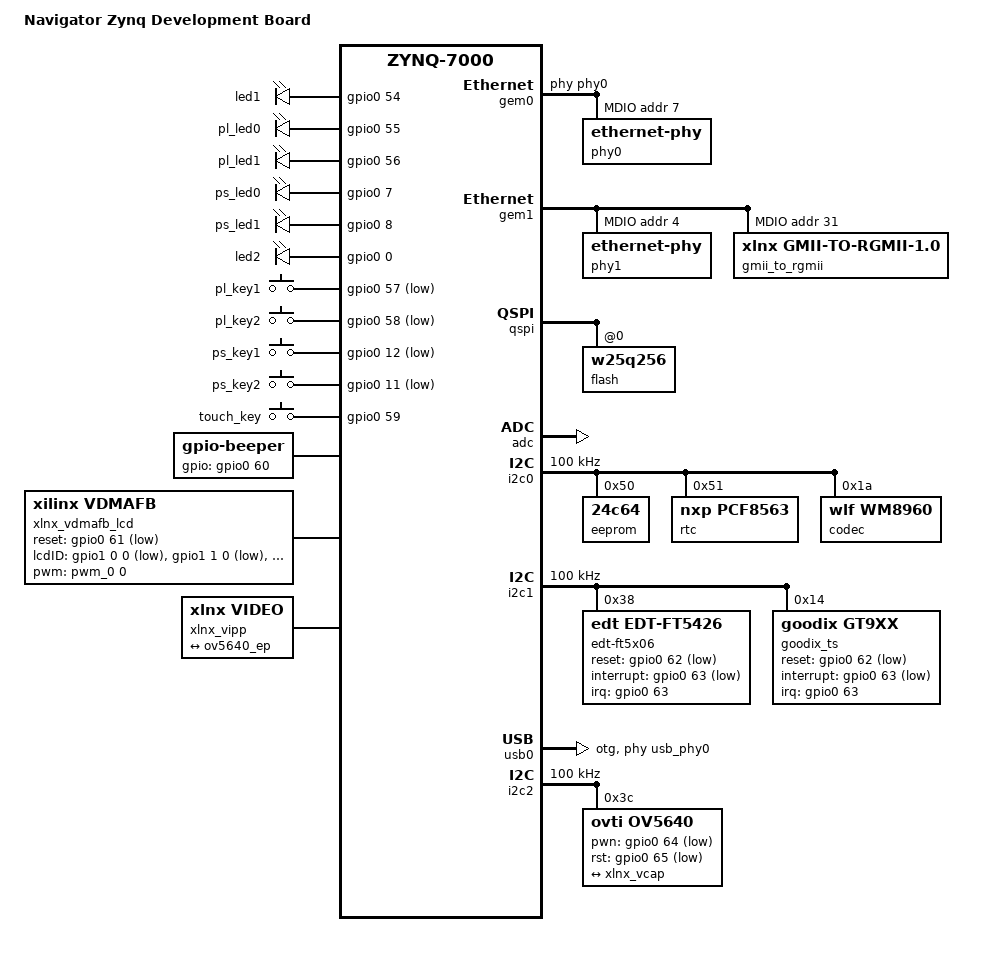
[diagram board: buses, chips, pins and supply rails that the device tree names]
#include "system-conf.dtsi"
#include <dt-bindings/gpio/gpio.h>

/ {
    model = "Navigator Zynq Development Board";
    compatible = "xlnx,zynq-zc702", "xlnx,zynq-7000";

    amba: axi {
        ocmc@f800c000 {
            compatible = "xlnx,zynq-ocmc-1.0";
            interrupt-parent = <&intc>;
            interrupts = <0 3 4>;
            reg = <0xf800c000 0x1000>;
        };
    };

    leds {
        compatible = "gpio-leds";

        gpio-led1 {
            label = "led1";
            gpios = <&gpio0 54 GPIO_ACTIVE_HIGH>;
            linux,default-trigger = "heartbeat";
        };

        gpio-led2 {
            label = "pl_led0";
            gpios = <&gpio0 55 GPIO_ACTIVE_HIGH>;
            default-state = "on";
        };

        gpio-led3 {
            label = "pl_led1";
            gpios = <&gpio0 56 GPIO_ACTIVE_HIGH>;
            default-state = "on";
        };

        gpio-led4 {
            label = "ps_led0";
            gpios = <&gpio0 7 GPIO_ACTIVE_HIGH>;
            default-state = "on";
        };

        gpio-led5 {
            label = "ps_led1";
            gpios = <&gpio0 8 GPIO_ACTIVE_HIGH>;
            default-state = "on";
        };

        gpio-led6 {
            label = "led2";
            gpios = <&gpio0 0 GPIO_ACTIVE_HIGH>;
            default-state = "on";
        };
    };

    keys {
        compatible = "gpio-keys";
        autorepeat;

        gpio-key1 {
            label = "pl_key1";
            gpios = <&gpio0 57 GPIO_ACTIVE_LOW>;
            linux,code = <105>;   // Right
            debounce-interval = <20>;  // 20ms
        };

        gpio-key2 {
            label = "pl_key2";
            gpios = <&gpio0 58 GPIO_ACTIVE_LOW>;
            linux,code = <106>;   // Left
            debounce-interval = <20>;
        };

        gpio-key3 {
            label = "ps_key1";
            gpios = <&gpio0 12 GPIO_ACTIVE_LOW>;
            linux,code = <103>;   // Up
            debounce-interval = <20>;
        };

        gpio-key4 {
            label = "ps_key2";
            gpios = <&gpio0 11 GPIO_ACTIVE_LOW>;
            linux,code = <108>;   // Down
            debounce-interval = <20>;
        };

        touch-key {
            label = "touch_key";
            gpios = <&gpio0 59 GPIO_ACTIVE_HIGH>;
            linux,code = <28>;   // ENTER
            gpio-key,wakeup;
            debounce-interval = <20>;
        };
    };

    beep {
        compatible = "gpio-beeper";
        gpios = <&gpio0 60 GPIO_ACTIVE_HIGH>;
    };

    usb_phy0: phy0@e0002000 {
        compatible = "ulpi-phy";
        #phy-cells = <0>;
        reg = <0xe0002000 0x1000>;
        view-port = <0x0170>;
        drv-vbus;
    };

    reserved-memory {
        #address-cells = <1>;
        #size-cells = <1>;
        ranges;

        uio_cma: cma {
            compatible = "shared-dma-pool";
            /* alloc-ranges = <0 0x10000>; */
            size = <0x5000000>;
            alignment = <0x1000>;
            reusable;
            linux,cma-default;
        };
    };
};

&gem0 {
    phy-handle = <&phy0>;
    memory-region = <&uio_cma>;
    memory-region-size = <0x3000000>;
    mdio {
        phy0: ethernet-phy@7 {  /* YT8521 */
            reg = <0x7>;
            device_type = "ethernet-phy";
        };
    };
};

&gem1 {
    phy-reset-gpio = <&gpio0 0x42 GPIO_ACTIVE_LOW>;
    phy-reset-active-low;
    memory-region = <&uio_cma>;
    memory-region-size = <0x3000000>;
    mdio {
        /delete-node/ gmii_to_rgmii_0@31;
        phy1: ethernet-phy@4 {  /* YT8511 */
            reg = <0x4>;
            device_type = "ethernet-phy";
        };

        gmii_to_rgmii@31 {
            compatible = "xlnx,gmii-to-rgmii-1.0";
            phy-handle = <&phy1>;
            reg = <0x1f>;
        };
    };
};

&qspi {
    u-boot,dm-pre-reloc;
    flash@0 {
        compatible = "w25q256";
    };
};

&watchdog0 {
    reset-on-timeout;        // Enable watchdog reset function
};

&pwm_0 {
    compatible = "digilent,axi-pwm";
    #pwm-cells = <2>;
    clock-names = "pwm";
    npwm = <1>;
};

&sdhci0 {
    u-boot,dm-pre-reloc;
};

&uart0 {
    u-boot,dm-pre-reloc;
};

&adc {
    status = "okay";

    xlnx,channels {
        #address-cells = <1>;
        #size-cells = <0>;

        channel@0 {
            reg = <0>;
        };
    };
};

&i2c0 {
    clock-frequency = <100000>;

    eeprom@50 {
        compatible = "24c64";
        reg = <0x50>;
        pagesize = <32>;
    };

    rtc@51 {
        compatible = "nxp,pcf8563";
        reg = <0x51>;
    };

    codec: wm8960@1a {
        compatible = "wlf,wm8960";
        reg = <0x1a>;
        #sound-dai-cells = <0>;
        wlf,shared-lrclk;
    };
};

&i2c1 {
    clock-frequency = <100000>;

    edt-ft5x06@38 {
        compatible = "edt,edt-ft5426";
        reg = <0x38>;

        interrupt-parent = <&gpio0>;
        interrupts = <63 0x2>;

        reset-gpio = <&gpio0 62 GPIO_ACTIVE_LOW>;
        interrupt-gpio = <&gpio0 63 GPIO_ACTIVE_LOW>;
    };

    goodix_ts@5d {
        compatible = "goodix,gt9xx";
        status = "okay";
        //reg = <0x5d>;
        reg = <0x14>;
        interrupt-parent = <&gpio0>;
        interrupts = <63 0>;
        reset-gpio = <&gpio0 62 GPIO_ACTIVE_LOW>;
        interrupt-gpio = <&gpio0 63 GPIO_ACTIVE_LOW>;
    };
};

&usb0 {
    dr_mode = "otg";
    usb-phy = <&usb_phy0>;
};

&audio_formatter {
    xlnx,tx = <&i2s_transmitter>;
    xlnx,rx = <&i2s_receiver>;
    audio-codec = <&codec>;
};

&i2s_receiver {
    xlnx,snd-pcm = <&audio_formatter>;
};

&i2s_transmitter {
    xlnx,snd-pcm = <&audio_formatter>;
};

&i2c2 {
    clock-frequency = <100000>;

    ov5640@3c {
        compatible = "ovti,ov5640";
        reg = <0x3c>;

        pwn-gpios = <&gpio0 64 GPIO_ACTIVE_LOW>;
        rst-gpios = <&gpio0 65 GPIO_ACTIVE_LOW>;

        status = "okay";

        #address-cells = <1>;
        #size-cells = <0>;

        port@0 {
            reg = <0>;

            ov5640_ep: endpoint {
                remote-endpoint = <&xlnx_vcap>;
            };
        };
    };
};

/* RGB LCD */
&lcd_vtc {
    compatible = "xlnx,v-tc-5.01.a";
};

&lcd_vdma {
    dma-ranges = <0x00000000 0x00000000 0x40000000>;        // 1GB
};

/* HDMI */
&hdmi_vtc {
    clocks = <&hdmi_dynclk>, <&clkc 15>;
    compatible = "xlnx,v-tc-5.01.a";
};

&hdmi_dynclk {
    compatible = "digilent,axi-dynclk";
    #clock-cells = <0>;
};

&hdmi_vdma {
    dma-ranges = <0x00000000 0x00000000 0x40000000>;    // 1GB
};
&amba_pl {
    xlnx_vdmafb_lcd {
        compatible = "xilinx,vdmafb";
        status = "okay";

        vtc = <&lcd_vtc>;
        clocks = <&clk_wiz_0 0>;
        clock-names = "lcd_pclk";
        dmas = <&lcd_vdma 0>;
        dma-names = "lcd_vdma";

        pwms = <&pwm_0 0 5000000>;
        reset-gpio = <&gpio0 61 GPIO_ACTIVE_LOW>;
        lcdID-gpio = <&gpio1 0 0 GPIO_ACTIVE_LOW &gpio1 1 0 GPIO_ACTIVE_LOW &gpio1 2 0 GPIO_ACTIVE_LOW>;

        display-timings {
            timing_4342: timing0 {
                clock-frequency = <9000000>;
                hactive = <480>;
                vactive = <272>;
                hback-porch = <40>;
                hfront-porch = <5>;
                hsync-len = <1>;
                vback-porch = <8>;
                vfront-porch = <8>;
                vsync-len = <1>;
                hsync-active = <0>;
                vsync-active = <0>;
                de-active = <1>;
                pixelclk-active = <0>;
            };
            timing_4384: timing1 {
                clock-frequency = <31000000>;
                hactive = <800>;
                vactive = <480>;
                hback-porch = <88>;
                hfront-porch = <40>;
                hsync-len = <48>;
                vback-porch = <32>;
                vfront-porch = <13>;
                vsync-len = <3>;
                hsync-active = <0>;
                vsync-active = <0>;
                de-active = <1>;
                pixelclk-active = <0>;
            };
            timing_7084: timing2 {
                clock-frequency = <33300000>;
                hactive = <800>;
                vactive = <480>;
                hback-porch = <46>;
                hfront-porch = <210>;
                hsync-len = <1>;
                vback-porch = <23>;
                vfront-porch = <22>;
                vsync-len = <1>;
                hsync-active = <0>;
                vsync-active = <0>;
                de-active = <1>;
                pixelclk-active = <0>;
            };
            timing_7016: timing3 {
                clock-frequency = <51200000>;
                hactive = <1024>;
                vactive = <600>;
                hback-porch = <140>;
                hfront-porch = <160>;
                hsync-len = <20>;
                vback-porch = <20>;
                vfront-porch = <12>;
                vsync-len = <3>;
                hsync-active = <0>;
                vsync-active = <0>;
                de-active = <1>;
                pixelclk-active = <0>;
            };
            timing_1018: timing4 {
                clock-frequency = <71100000>;
                hactive = <1280>;
                vactive = <800>;
                hback-porch = <80>;
                hfront-porch = <70>;
                hsync-len = <10>;
                vback-porch = <10>;
                vfront-porch = <10>;
                vsync-len = <3>;
                hsync-active = <0>;
                vsync-active = <0>;
                de-active = <1>;
                pixelclk-active = <0>;
            };
        };
    };

    xlnx_vdmafb_hdmi {
        compatible = "xilinx,vdmafb";
        status = "okay";

        vtc = <&hdmi_vtc>;
        clocks = <&hdmi_dynclk>;
        clock-names = "lcd_pclk";
        dmas = <&hdmi_vdma 0>;
        dma-names = "lcd_vdma";

        hdmi;

        display-timings {
            timing_1080p: timing5 {
                clock-frequency = <148500000>;
                hactive = <1920>;
                vactive = <1080>;
                hback-porch = <148>;
                hsync-len = <44>;
                hfront-porch = <88>;
                vback-porch = <36>;
                vsync-len = <5>;
                vfront-porch = <4>;
                hsync-active = <0>;
                vsync-active = <0>;
                de-active = <0>;
                pixelclk-active = <1>;
            };
        };
    };

    xlnx_vipp {
        compatible = "xlnx,video";
        dmas = <&lcd_vdma 1>;
        dma-names = "port0";
        status = "okay";

        ports {
            #address-cells = <1>;
            #size-cells = <0>;

            port@0 {
                reg = <0>;
                direction = "input";

                xlnx_vcap: endpoint {
                    remote-endpoint = <&ov5640_ep>;
                };
            };
        };
    };
};
